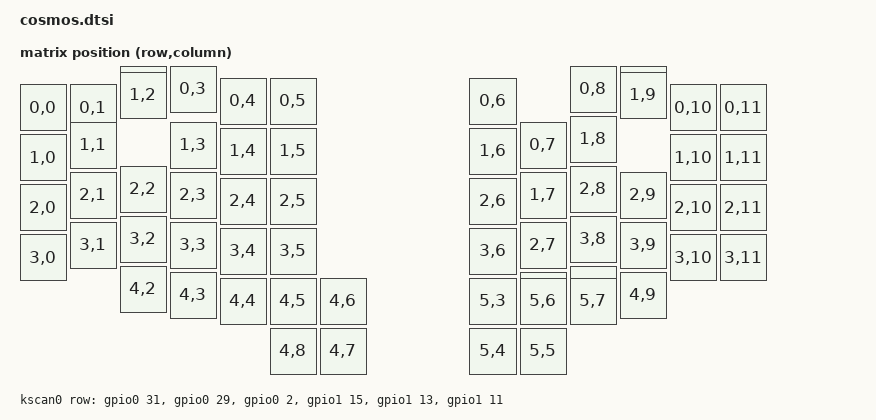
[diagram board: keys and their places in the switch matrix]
#include <physical_layouts.dtsi>
#include <dt-bindings/zmk/matrix_transform.h>

/ {
    chosen {
        zmk,physical-layout = &layout;
        // zmk,kscan = &kscan0;
        // zmk,matrix_transform = &default_transform;
    };

    default_transform: keymap_transform_0 {
        compatible = "zmk,matrix-transform";
        columns = <12>;
        rows = <6>;
        map = <
                            RC(0,2) RC(0,3)                                                   RC(0,8) RC(0,9)
            RC(0,0) RC(0,1) RC(1,2) RC(1,3) RC(0,4) RC(0,5)                   RC(0,6) RC(0,7) RC(1,8) RC(1,9) RC(0,10) RC(0,11)
            RC(1,0) RC(1,1) RC(2,2) RC(2,3) RC(1,4) RC(1,5)                   RC(1,6) RC(1,7) RC(2,8) RC(2,9) RC(1,10) RC(1,11)
            RC(2,0) RC(2,1) RC(3,2) RC(3,3) RC(2,4) RC(2,5)                   RC(2,6) RC(2,7) RC(3,8) RC(3,9) RC(2,10) RC(2,11)
            RC(3,0) RC(3,1) RC(4,2) RC(4,3) RC(3,4) RC(3,5)                   RC(3,6) RC(3,7) RC(4,8) RC(4,9) RC(3,10) RC(3,11)
                                            RC(4,4) RC(4,5) RC(4,6)   RC(5,3) RC(5,6) RC(5,7) 
                                                    RC(4,8) RC(4,7)   RC(5,4) RC(5,5)

        >;
    };

    kscan0: kscan {
        compatible = "zmk,kscan-gpio-matrix";
        label = "KSCAN";
        diode-direction = "col2row";
        wakeup-source;

        row-gpios
            = <&gpio0 31 (GPIO_ACTIVE_HIGH | GPIO_PULL_DOWN)> // Row 0 P0.31
            , <&gpio0 29 (GPIO_ACTIVE_HIGH | GPIO_PULL_DOWN)> // Row 1 P0.29
            , <&gpio0 2  (GPIO_ACTIVE_HIGH | GPIO_PULL_DOWN)> // Row 2 P0.02
            , <&gpio1 15 (GPIO_ACTIVE_HIGH | GPIO_PULL_DOWN)> // Row 3 P1.15
            , <&gpio1 13 (GPIO_ACTIVE_HIGH | GPIO_PULL_DOWN)> // Row 4 P1.13
            , <&gpio1 11 (GPIO_ACTIVE_HIGH | GPIO_PULL_DOWN)> // Row 5 P1.11
            ;
    };

    layout: layout {
        compatible = "zmk,physical-layout";
        display-name = "ZMK Cosmos";
        kscan = <&kscan0>;
        transform = <&default_transform>;

        keys //                     w   h    x    y     rot    rx    ry
           = <&key_physical_attrs 100 100  200    0       0     0     0>  // RC(0,2) N2
           , <&key_physical_attrs 100 100  300    0       0     0     0>  // RC(0,3) N3

           //                       w   h    x    y     rot    rx    ry
           , <&key_physical_attrs 100 100 1100    0       0     0     0>  // RC(0,8) N8
           , <&key_physical_attrs 100 100 1200    0       0     0     0>  // RC(0,9) N9

           // Row 1
           //                       w   h    x    y     rot    rx    ry
           , <&key_physical_attrs 100 100    0   37       0     0     0>  // RC(0,0) ESC
           , <&key_physical_attrs 100 100  100   37       0     0     0>  // RC(0,1) N1
           , <&key_physical_attrs 100 100  200   12       0     0     0>  // RC(1,2) W
           , <&key_physical_attrs 100 100  300  112       0     0     0>  // RC(1,3) E 
           , <&key_physical_attrs 100 100  400   24       0     0     0>  // RC(0,4) N4
           , <&key_physical_attrs 100 100  500   24       0     0     0>  // RC(0,5) N5

           //                       w   h    x    y     rot    rx    ry
           , <&key_physical_attrs 100 100  900   24       0     0     0>  // RC(0,6) N6
           , <&key_physical_attrs 100 100 1000  112       0     0     0>  // RC(0,7) N7
           , <&key_physical_attrs 100 100 1100  100       0     0     0>  // RC(1,8) I
           , <&key_physical_attrs 100 100 1200   12       0     0     0>  // RC(1,9) O
           , <&key_physical_attrs 100 100 1300   37       0     0     0>  // RC(0,10) N0
           , <&key_physical_attrs 100 100 1400   37       0     0     0>  // RC(0,11) BSPC

           // Row 2
           //                       w   h    x    y     rot    rx    ry
           , <&key_physical_attrs 100 100    0  137       0     0     0>  // RC(1,0) TAB
           , <&key_physical_attrs 100 100  100  112       0     0     0>  // RC(1,1) Q
           , <&key_physical_attrs 100 100  200  200       0     0     0>  // RC(2,2) S - LCTRL
           , <&key_physical_attrs 100 100  300  212       0     0     0>  // RC(2,3) D - LALT
           , <&key_physical_attrs 100 100  400  124       0     0     0>  // RC(1,4) R 
           , <&key_physical_attrs 100 100  500  124       0     0     0>  // RC(1,5) T

           //                       w   h    x    y     rot    rx    ry
           , <&key_physical_attrs 100 100  900  124       0     0     0>  // RC(1,6) Y
           , <&key_physical_attrs 100 100 1000  212       0     0     0>  // RC(1,7) U
           , <&key_physical_attrs 100 100 1100  200       0     0     0>  // RC(2,8) K - RALT
           , <&key_physical_attrs 100 100 1200  212       0     0     0>  // RC(2,9) L - RCTRL
           , <&key_physical_attrs 100 100 1300  137       0     0     0>  // RC(1,10) P
           , <&key_physical_attrs 100 100 1400  137       0     0     0>  // RC(1,11) BSLH

           // Row 3
           //                       w   h    x    y     rot    rx    ry
           , <&key_physical_attrs 100 100    0  237       0     0     0>  // RC(2,0) LCTRL
           , <&key_physical_attrs 100 100  100  212       0     0     0>  // RC(2,1) A - LSHIFT
           , <&key_physical_attrs 100 100  200  300       0     0     0>  // RC(3,2) X
           , <&key_physical_attrs 100 100  300  312       0     0     0>  // RC(4,3) C
           , <&key_physical_attrs 100 100  400  224       0     0     0>  // RC(2,4) F - LGUI
           , <&key_physical_attrs 100 100  500  224       0     0     0>  // RC(2,5) G

           //                       w   h    x    y     rot    rx    ry
           , <&key_physical_attrs 100 100  900  224       0     0     0>  // RC(2,6) H
           , <&key_physical_attrs 100 100 1000  312       0     0     0>  // RC(2,7) J - RGUI
           , <&key_physical_attrs 100 100 1100  300       0     0     0>  // RC(3,8) COMMA
           , <&key_physical_attrs 100 100 1200  312       0     0     0>  // RC(3,9) DOT
           , <&key_physical_attrs 100 100 1300  237       0     0     0>  // RC(2,10) S_SHFT
           , <&key_physical_attrs 100 100 1400  237       0     0     0>  // RC(2,11) SQT

           // Row 4
           //                       w   h    x    y     rot    rx    ry
           , <&key_physical_attrs 100 100    0  337       0     0     0>  // RC(3,0) LSHFT
           , <&key_physical_attrs 100 100  100  312       0     0     0>  // RC(3,1) Z
           , <&key_physical_attrs 100 100  200  400       0     0     0>  // RC(4,2) LBKT
           , <&key_physical_attrs 100 100  300  412       0     0     0>  // RC(4,3) RBKT
           , <&key_physical_attrs 100 100  400  324       0     0     0>  // RC(3,4) V
           , <&key_physical_attrs 100 100  500  324       0     0     0>  // RC(3,5) B

           //                       w   h    x    y     rot    rx    ry
           , <&key_physical_attrs 100 100  900  324       0     0     0>  // RC(3,6) N
           , <&key_physical_attrs 100 100 1000  412       0     0     0>  // RC(3,7) M
           , <&key_physical_attrs 100 100 1100  400       0     0     0>  // RC(4,8) MINUS
           , <&key_physical_attrs 100 100 1200  412       0     0     0>  // RC(4,9) SLASH
           , <&key_physical_attrs 100 100 1300  337       0     0     0>  // RC(3,10) PLUS
           , <&key_physical_attrs 100 100 1400  337       0     0     0>  // RC(3,11) SLASH

           // Thumb cluster
           //                       w   h    x    y     rot    rx    ry
           , <&key_physical_attrs 100 100  400  424       0     0     0>  // RC(4,4) STUDIO_UNLOCK
           , <&key_physical_attrs 100 100  500  424       0     0     0>  // RC(4,5) SPACE
           , <&key_physical_attrs 100 100  600  424       0     0     0>  // RC(4,6) MO(2)

           //                       w   h    x    y     rot    rx    ry
           , <&key_physical_attrs 100 100  900  424       0     0     0>  // RC(5,3) SPACE
           , <&key_physical_attrs 100 100 1000  424       0     0     0>  // RC(5,6) BSPC
           , <&key_physical_attrs 100 100 1100  424       0     0     0>  // RC(5,7) F

           , <&key_physical_attrs 100 100  500  524       0     0     0>  // RC(4,8) LWIN
           , <&key_physical_attrs 100 100  600  524       0     0     0>  // RC(4,7) LALT

           //                       w   h    x    y     rot    rx    ry
           , <&key_physical_attrs 100 100  900  524       0     0     0>  // RC(5,4) RALT
           , <&key_physical_attrs 100 100 1000  524       0     0     0>  // RC(5,5) RWIN
           ;
  };
};
